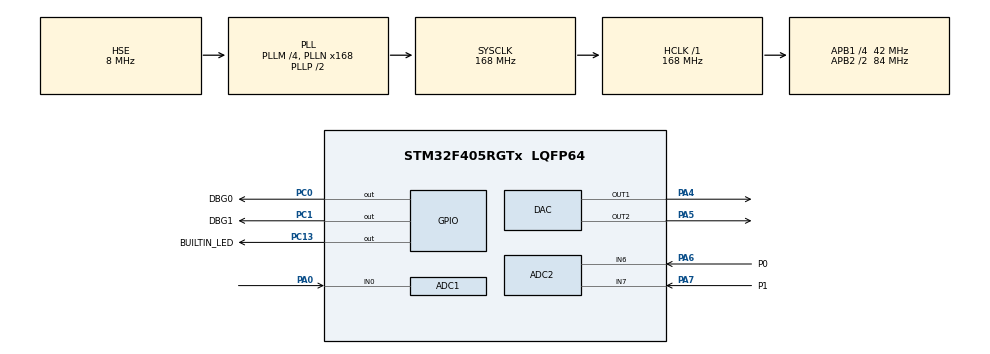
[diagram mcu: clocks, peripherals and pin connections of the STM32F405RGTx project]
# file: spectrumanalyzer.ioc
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ADC1.Channel-0\#ChannelRegularConversion=ADC_CHANNEL_0
ADC1.ClockPrescaler=ADC_CLOCK_SYNC_PCLK_DIV8
ADC1.NbrOfConversionFlag=1
ADC1.Rank-0\#ChannelRegularConversion=1
ADC1.SamplingTime-0\#ChannelRegularConversion=ADC_SAMPLETIME_3CYCLES
ADC1.master=1
ADC2.Channel-1\#ChannelRegularConversion=ADC_CHANNEL_6
ADC2.Channel-3\#ChannelRegularConversion=ADC_CHANNEL_7
ADC2.ClockPrescaler=ADC_CLOCK_SYNC_PCLK_DIV8
ADC2.ContinuousConvMode=DISABLE
ADC2.DMAContinuousRequests=ENABLE
ADC2.EOCSelection=ADC_EOC_SEQ_CONV
ADC2.ExternalTrigConv=ADC_EXTERNALTRIGCONV_T8_TRGO
ADC2.NbrOfConversion=2
ADC2.NbrOfConversionFlag=1
ADC2.Rank-1\#ChannelRegularConversion=1
ADC2.Rank-3\#ChannelRegularConversion=2
ADC2.SamplingTime-1\#ChannelRegularConversion=ADC_SAMPLETIME_28CYCLES
ADC2.SamplingTime-3\#ChannelRegularConversion=ADC_SAMPLETIME_28CYCLES
DAC.DAC_OutputBuffer=DAC_OUTPUTBUFFER_ENABLE
DAC.DAC_OutputBuffer2=DAC_OUTPUTBUFFER_ENABLE
DAC.DAC_Trigger=DAC_TRIGGER_T8_TRGO
DAC.DAC_Trigger2=DAC_TRIGGER_T8_TRGO
Dma.ADC1.0.Direction=DMA_PERIPH_TO_MEMORY
Dma.ADC1.0.FIFOMode=DMA_FIFOMODE_DISABLE
Dma.ADC1.0.Instance=DMA2_Stream0
Dma.ADC1.0.MemDataAlignment=DMA_MDATAALIGN_HALFWORD
Dma.ADC1.0.MemInc=DMA_MINC_ENABLE
Dma.ADC1.0.Mode=DMA_CIRCULAR
Dma.ADC1.0.PeriphDataAlignment=DMA_PDATAALIGN_HALFWORD
Dma.ADC1.0.PeriphInc=DMA_PINC_DISABLE
Dma.ADC1.0.Priority=DMA_PRIORITY_LOW
Dma.ADC2.3.Direction=DMA_PERIPH_TO_MEMORY
Dma.ADC2.3.FIFOMode=DMA_FIFOMODE_DISABLE
Dma.ADC2.3.Instance=DMA2_Stream2
Dma.ADC2.3.MemDataAlignment=DMA_MDATAALIGN_WORD
Dma.ADC2.3.MemInc=DMA_MINC_ENABLE
Dma.ADC2.3.Mode=DMA_CIRCULAR
Dma.ADC2.3.PeriphDataAlignment=DMA_PDATAALIGN_WORD
Dma.ADC2.3.PeriphInc=DMA_PINC_DISABLE
Dma.ADC2.3.Priority=DMA_PRIORITY_LOW
Dma.DAC1.1.Direction=DMA_MEMORY_TO_PERIPH
Dma.DAC1.1.FIFOMode=DMA_FIFOMODE_DISABLE
Dma.DAC1.1.Instance=DMA1_Stream5
Dma.DAC1.1.MemDataAlignment=DMA_MDATAALIGN_WORD
Dma.DAC1.1.MemInc=DMA_MINC_ENABLE
Dma.DAC1.1.Mode=DMA_CIRCULAR
Dma.DAC1.1.PeriphDataAlignment=DMA_PDATAALIGN_WORD
Dma.DAC1.1.PeriphInc=DMA_PINC_DISABLE
Dma.DAC1.1.Priority=DMA_PRIORITY_HIGH
Dma.DAC2.2.Direction=DMA_MEMORY_TO_PERIPH
Dma.DAC2.2.FIFOMode=DMA_FIFOMODE_DISABLE
Dma.DAC2.2.Instance=DMA1_Stream6
Dma.DAC2.2.MemDataAlignment=DMA_MDATAALIGN_WORD
Dma.DAC2.2.MemInc=DMA_MINC_ENABLE
Dma.DAC2.2.Mode=DMA_CIRCULAR
Dma.DAC2.2.PeriphDataAlignment=DMA_PDATAALIGN_WORD
Dma.DAC2.2.PeriphInc=DMA_PINC_DISABLE
Dma.DAC2.2.Priority=DMA_PRIORITY_HIGH
Dma.Request0=ADC1
Dma.Request1=DAC1
Dma.Request2=DAC2
Dma.Request3=ADC2
Mcu.Family=STM32F4
Mcu.Name=STM32F405RGTx
Mcu.Package=LQFP64
Mcu.UserConstants=AUD_PRE,0;AUD_CNT,3499
NVIC.ADC_IRQn=true\:0\:0\:false\:false\:true\:true\:true
NVIC.DMA1_Stream5_IRQn=true\:1\:0\:true\:false\:true\:false\:true
NVIC.DMA1_Stream6_IRQn=true\:1\:0\:true\:false\:true\:false\:true
NVIC.DMA2_Stream0_IRQn=true\:4\:0\:true\:false\:true\:false\:true
NVIC.DMA2_Stream2_IRQn=true\:4\:0\:true\:false\:true\:false\:true
NVIC.PriorityGroup=NVIC_PRIORITYGROUP_4
NVIC.TIM4_IRQn=true\:6\:0\:true\:false\:true\:true\:true
PA0-WKUP.Signal=ADCx_IN0
PA13.Mode=Serial_Wire
PA13.Signal=SYS_JTMS-SWDIO
PA14.Mode=Serial_Wire
PA14.Signal=SYS_JTCK-SWCLK
PA4.Signal=COMP_DAC1_group
PA5.Signal=COMP_DAC2_group
PA6.GPIO_Label=P0
PA6.Signal=ADCx_IN6
PA7.GPIO_Label=P1
PA7.Signal=ADCx_IN7
PC0.GPIO_Label=DBG0
PC0.Signal=GPIO_Output
PC1.GPIO_Label=DBG1
PC1.Signal=GPIO_Output
PC13-ANTI_TAMP.GPIO_Label=BUILTIN_LED
PC13-ANTI_TAMP.PinState=GPIO_PIN_SET
PC13-ANTI_TAMP.Signal=GPIO_Output
PH0-OSC_IN.Mode=HSE-External-Oscillator
PH0-OSC_IN.Signal=RCC_OSC_IN
PH1-OSC_OUT.Mode=HSE-External-Oscillator
PH1-OSC_OUT.Signal=RCC_OSC_OUT
ProjectManager.HeapSize=0x200
ProjectManager.StackSize=0x400
ProjectManager.TargetToolchain=STM32CubeIDE
RCC.48MHZClocksFreq_Value=84000000
RCC.AHBFreq_Value=168000000
RCC.APB1CLKDivider=RCC_HCLK_DIV4
RCC.APB1Freq_Value=42000000
RCC.APB1TimFreq_Value=84000000
RCC.APB2CLKDivider=RCC_HCLK_DIV2
RCC.APB2Freq_Value=84000000
RCC.APB2TimFreq_Value=168000000
RCC.CortexFreq_Value=168000000
RCC.HCLKFreq_Value=168000000
RCC.HSE_VALUE=8000000
RCC.HSI_VALUE=16000000
RCC.LSE_VALUE=32768
RCC.PLLM=4
RCC.PLLN=168
RCC.PLLSourceVirtual=RCC_PLLSOURCE_HSE
RCC.SYSCLKFreq_VALUE=168000000
RCC.SYSCLKSource=RCC_SYSCLKSOURCE_PLLCLK
RCC.VCOOutputFreq_Value=336000000
SH.ADCx_IN0.0=ADC1_IN0,IN0
SH.ADCx_IN6.0=ADC2_IN6,IN6
SH.ADCx_IN7.0=ADC2_IN7,IN7
SH.COMP_DAC1_group.0=DAC_OUT1,DAC_OUT1
SH.COMP_DAC2_group.0=DAC_OUT2,DAC_OUT2
STMicroelectronics.X-CUBE-ALGOBUILD.1.1.0.LibraryCcDSPOoLibraryJjDSPOoLibrary=true
TIM4.AutoReloadPreload=TIM_AUTORELOAD_PRELOAD_ENABLE
TIM4.Period=4999
TIM4.Prescaler=8399
TIM4.TIM_MasterOutputTrigger=TIM_TRGO_UPDATE
TIM8.AutoReloadPreload=TIM_AUTORELOAD_PRELOAD_ENABLE
TIM8.Period=AUD_CNT
TIM8.Prescaler=AUD_PRE
TIM8.TIM_MasterOutputTrigger=TIM_TRGO_UPDATE
VP_STMicroelectronics.X-CUBE-ALGOBUILD_VS_DSPOoLibraryJjLibrary_1.1.0.Mode=DSPOoLibraryJjLibrary
VP_TIM4_VS_ClockSourceINT.Mode=Internal
VP_TIM8_VS_ClockSourceINT.Mode=Internal
board=custom

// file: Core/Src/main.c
/* USER CODE BEGIN Header */
/**
  ******************************************************************************
  * @file           : main.c
  * @brief          : Main program body
  ******************************************************************************
  * @attention
  *
  * <h2><center>&copy; Copyright (c) 2020 STMicroelectronics.
  * All rights reserved.</center></h2>
  *
  * This software component is licensed by ST under BSD 3-Clause license,
  * the "License"; You may not use this file except in compliance with the
  * License. You may obtain a copy of the License at:
  *                        opensource.org/licenses/BSD-3-Clause
  *
  ******************************************************************************
  */
/* USER CODE END Header */
#include "main.h"

/* USER CODE BEGIN Includes */
#include "arm_math.h"
/* USER CODE END Includes */

/* USER CODE BEGIN PD */

#define M_PI2 2 * M_PI

#define SAMPLE_FREQUENCY 48000
#define SAMPLE_BUFFER_SIZE 48
#define DAC_MAX 4095
#define DAC_MID 2047

/* USER CODE END PD */

ADC_HandleTypeDef hadc1;
ADC_HandleTypeDef hadc2;
DMA_HandleTypeDef hdma_adc1;
DMA_HandleTypeDef hdma_adc2;

DAC_HandleTypeDef hdac;
DMA_HandleTypeDef hdma_dac1;
DMA_HandleTypeDef hdma_dac2;

TIM_HandleTypeDef htim4;
TIM_HandleTypeDef htim8;

/* USER CODE BEGIN PV */

// The actual buffers
uint32_t adc1_buffer[SAMPLE_BUFFER_SIZE * 2 * 2] = {0};
uint32_t adc2_buffer[SAMPLE_BUFFER_SIZE * 2 * 2] = {0};
uint32_t dac1_buffer[SAMPLE_BUFFER_SIZE * 2] = {0};
uint32_t dac2_buffer[SAMPLE_BUFFER_SIZE * 2] = {0};

// Pointers to half buffers
uint32_t *adc1_buffer_ptr = adc1_buffer;
uint32_t *adc2_buffer_ptr = adc2_buffer;
uint32_t *dac1_buffer_ptr = dac1_buffer;
uint32_t *dac2_buffer_ptr = dac2_buffer;

float osc1_angle = 0;
float osc1_angle_per_sample = 0;
float osc1_amp = 0.99;
float osc2_angle = 0;
float osc2_angle_per_sample = 0;
float osc2_amp = 0.99;

uint32_t dac_count = 0;
uint32_t adc_count = 0;

uint32_t pot0 = 0;
uint32_t pot1 = 0;

/* USER CODE END PV */

void SystemClock_Config(void);
static void MX_GPIO_Init(void);
static void MX_DMA_Init(void);
static void MX_ADC1_Init(void);
static void MX_ADC2_Init(void);
static void MX_DAC_Init(void);
static void MX_TIM4_Init(void);
static void MX_TIM8_Init(void);

/* USER CODE BEGIN 0 */

void HAL_TIM_PeriodElapsedCallback(TIM_HandleTypeDef *htim) {

	if (htim->Instance == TIM4) {
		HAL_GPIO_TogglePin(BUILTIN_LED_GPIO_Port, BUILTIN_LED_Pin);
	}

}

static inline void update_osc_buffers() {

	HAL_GPIO_WritePin(DBG0_GPIO_Port, DBG0_Pin, GPIO_PIN_SET);

	for (uint8_t sample = 0; sample < SAMPLE_BUFFER_SIZE; sample++) {

		*dac1_buffer_ptr = (uint32_t) (DAC_MID + osc1_amp * arm_sin_f32(osc1_angle) * DAC_MID);
		*dac2_buffer_ptr = (uint32_t) (DAC_MID + osc2_amp * arm_sin_f32(osc2_angle) * DAC_MID);
		osc1_angle += osc1_angle_per_sample;
		osc2_angle += osc2_angle_per_sample;
		dac1_buffer_ptr++;
		dac2_buffer_ptr++;

		if (osc1_angle > M_PI2) osc1_angle -= M_PI2;
		if (osc2_angle > M_PI2) osc2_angle -= M_PI2;

	}

	dac_count++;

	HAL_GPIO_WritePin(DBG0_GPIO_Port, DBG0_Pin, GPIO_PIN_RESET);

}

// Contrary to the name this callback actually handles both channels
void HAL_DAC_ConvCpltCallbackCh1(DAC_HandleTypeDef *hdac) {

	dac1_buffer_ptr = &dac1_buffer[SAMPLE_BUFFER_SIZE];
    dac2_buffer_ptr = &dac2_buffer[SAMPLE_BUFFER_SIZE];

    update_osc_buffers();

}

// Contrary to the name this callback actually handles both channels
void HAL_DAC_ConvHalfCpltCallbackCh1(DAC_HandleTypeDef *hdac) {

	dac1_buffer_ptr = &dac1_buffer[0];
	dac2_buffer_ptr = &dac2_buffer[0];

	update_osc_buffers();

}

void set_osc1_freq(float freq) {
	osc1_angle_per_sample = M_PI2 / (SAMPLE_FREQUENCY / freq);
}

void set_osc2_freq(float freq) {
	osc2_angle_per_sample = M_PI2 / (SAMPLE_FREQUENCY / freq);
}

// Get pot values - average of 48 samples each pot
static inline void update_pots(uint32_t *sample_ptr) {

	HAL_GPIO_WritePin(DBG0_GPIO_Port, DBG0_Pin, GPIO_PIN_SET);

	uint32_t pot0_value = 0;
	uint32_t pot1_value = 0;
	for (uint8_t i = 0; i < SAMPLE_BUFFER_SIZE; ++i) {
		pot0_value += (uint32_t)*sample_ptr;
		sample_ptr++;
		pot1_value += (uint32_t)*sample_ptr;
		sample_ptr++;
	}
	pot0 = pot0_value / SAMPLE_BUFFER_SIZE;
	pot1 = pot1_value / SAMPLE_BUFFER_SIZE;

	set_osc1_freq((float)(4096 - pot0));
	osc1_amp = (float)(4096.0 - pot1) / 4096;

	adc_count++;

	HAL_GPIO_WritePin(DBG0_GPIO_Port, DBG0_Pin, GPIO_PIN_RESET);

}

void HAL_ADC_ConvCpltCallback(ADC_HandleTypeDef* hadc) {
	if (hadc->Instance == ADC2) {

		update_pots(&adc2_buffer[SAMPLE_BUFFER_SIZE]);

	}
}

void HAL_ADC_ConvHalfCpltCallback(ADC_HandleTypeDef* hadc) {
	if (hadc->Instance == ADC2) {

		update_pots(&adc2_buffer[0]);

	}
}

/* USER CODE END 0 */

int main(void)
{

  /* MCU Configuration--------------------------------------------------------*/

  /* Reset of all peripherals, Initializes the Flash interface and the Systick. */
  HAL_Init();

  /* Configure the system clock */
  SystemClock_Config();

  /* Initialize all configured peripherals */
  MX_GPIO_Init();
  MX_DMA_Init();
  MX_ADC1_Init();
  MX_ADC2_Init();
  MX_DAC_Init();
  MX_TIM4_Init();
  MX_TIM8_Init();
  /* USER CODE BEGIN 2 */

  // Start the timer to get the blue led flashing every second
  HAL_TIM_Base_Start_IT(&htim4);

  //HAL_TIM_Base_Start_IT(&htim2);
  //HAL_TIM_Base_Start_IT(&htim6);
  HAL_TIM_Base_Start_IT(&htim8);

  HAL_ADC_Start_DMA(&hadc2, adc2_buffer, SAMPLE_BUFFER_SIZE * 2 * 2);

  HAL_DAC_Start_DMA(&hdac, DAC_CHANNEL_1, dac1_buffer, SAMPLE_BUFFER_SIZE * 2, DAC_ALIGN_12B_R);
  HAL_DAC_Start_DMA(&hdac, DAC_CHANNEL_2, dac2_buffer, SAMPLE_BUFFER_SIZE * 2, DAC_ALIGN_12B_R);

  /* USER CODE END 2 */

  /* Infinite loop */
  /* USER CODE BEGIN WHILE */

  set_osc1_freq(440);
  set_osc2_freq(55);

  uint32_t then = 0;

  while (1)
  {

	uint32_t now = HAL_GetTick();
	if (now % 1000 == 0 && now != then) {

		then = now;
	}

    /* USER CODE END WHILE */

  }
}

void SystemClock_Config(void)
{
  RCC_OscInitTypeDef RCC_OscInitStruct = {0};
  RCC_ClkInitTypeDef RCC_ClkInitStruct = {0};

  /** Configure the main internal regulator output voltage
  */
  __HAL_RCC_PWR_CLK_ENABLE();
  __HAL_PWR_VOLTAGESCALING_CONFIG(PWR_REGULATOR_VOLTAGE_SCALE1);
  /** Initializes the RCC Oscillators according to the specified parameters
  * in the RCC_OscInitTypeDef structure.
  */
  RCC_OscInitStruct.OscillatorType = RCC_OSCILLATORTYPE_HSE;
  RCC_OscInitStruct.HSEState = RCC_HSE_ON;
  RCC_OscInitStruct.PLL.PLLState = RCC_PLL_ON;
  RCC_OscInitStruct.PLL.PLLSource = RCC_PLLSOURCE_HSE;
  RCC_OscInitStruct.PLL.PLLM = 4;
  RCC_OscInitStruct.PLL.PLLN = 168;
  RCC_OscInitStruct.PLL.PLLP = RCC_PLLP_DIV2;
  RCC_OscInitStruct.PLL.PLLQ = 4;
  if (HAL_RCC_OscConfig(&RCC_OscInitStruct) != HAL_OK)
  {
    Error_Handler();
  }
  /** Initializes the CPU, AHB and APB buses clocks
  */
  RCC_ClkInitStruct.ClockType = RCC_CLOCKTYPE_HCLK|RCC_CLOCKTYPE_SYSCLK
                              |RCC_CLOCKTYPE_PCLK1|RCC_CLOCKTYPE_PCLK2;
  RCC_ClkInitStruct.SYSCLKSource = RCC_SYSCLKSOURCE_PLLCLK;
  RCC_ClkInitStruct.AHBCLKDivider = RCC_SYSCLK_DIV1;
  RCC_ClkInitStruct.APB1CLKDivider = RCC_HCLK_DIV4;
  RCC_ClkInitStruct.APB2CLKDivider = RCC_HCLK_DIV2;

  if (HAL_RCC_ClockConfig(&RCC_ClkInitStruct, FLASH_LATENCY_5) != HAL_OK)
  {
    Error_Handler();
  }
}

static void MX_ADC1_Init(void)
{

  ADC_ChannelConfTypeDef sConfig = {0};

  /** Configure the global features of the ADC (Clock, Resolution, Data Alignment and number of conversion)
  */
  hadc1.Instance = ADC1;
  hadc1.Init.ClockPrescaler = ADC_CLOCK_SYNC_PCLK_DIV8;
  hadc1.Init.Resolution = ADC_RESOLUTION_12B;
  hadc1.Init.ScanConvMode = DISABLE;
  hadc1.Init.ContinuousConvMode = DISABLE;
  hadc1.Init.DiscontinuousConvMode = DISABLE;
  hadc1.Init.ExternalTrigConvEdge = ADC_EXTERNALTRIGCONVEDGE_NONE;
  hadc1.Init.ExternalTrigConv = ADC_SOFTWARE_START;
  hadc1.Init.DataAlign = ADC_DATAALIGN_RIGHT;
  hadc1.Init.NbrOfConversion = 1;
  hadc1.Init.DMAContinuousRequests = DISABLE;
  hadc1.Init.EOCSelection = ADC_EOC_SINGLE_CONV;
  if (HAL_ADC_Init(&hadc1) != HAL_OK)
  {
    Error_Handler();
  }
  /** Configure for the selected ADC regular channel its corresponding rank in the sequencer and its sample time.
  */
  sConfig.Channel = ADC_CHANNEL_0;
  sConfig.Rank = 1;
  sConfig.SamplingTime = ADC_SAMPLETIME_3CYCLES;
  if (HAL_ADC_ConfigChannel(&hadc1, &sConfig) != HAL_OK)
  {
    Error_Handler();
  }

}

static void MX_ADC2_Init(void)
{

  ADC_ChannelConfTypeDef sConfig = {0};

  /** Configure the global features of the ADC (Clock, Resolution, Data Alignment and number of conversion)
  */
  hadc2.Instance = ADC2;
  hadc2.Init.ClockPrescaler = ADC_CLOCK_SYNC_PCLK_DIV8;
  hadc2.Init.Resolution = ADC_RESOLUTION_12B;
  hadc2.Init.ScanConvMode = ENABLE;
  hadc2.Init.ContinuousConvMode = DISABLE;
  hadc2.Init.DiscontinuousConvMode = DISABLE;
  hadc2.Init.ExternalTrigConvEdge = ADC_EXTERNALTRIGCONVEDGE_RISING;
  hadc2.Init.ExternalTrigConv = ADC_EXTERNALTRIGCONV_T8_TRGO;
  hadc2.Init.DataAlign = ADC_DATAALIGN_RIGHT;
  hadc2.Init.NbrOfConversion = 2;
  hadc2.Init.DMAContinuousRequests = ENABLE;
  hadc2.Init.EOCSelection = ADC_EOC_SEQ_CONV;
  if (HAL_ADC_Init(&hadc2) != HAL_OK)
  {
    Error_Handler();
  }
  /** Configure for the selected ADC regular channel its corresponding rank in the sequencer and its sample time.
  */
  sConfig.Channel = ADC_CHANNEL_6;
  sConfig.Rank = 1;
  sConfig.SamplingTime = ADC_SAMPLETIME_28CYCLES;
  if (HAL_ADC_ConfigChannel(&hadc2, &sConfig) != HAL_OK)
  {
    Error_Handler();
  }
  /** Configure for the selected ADC regular channel its corresponding rank in the sequencer and its sample time.
  */
  sConfig.Channel = ADC_CHANNEL_7;
  sConfig.Rank = 2;
  if (HAL_ADC_ConfigChannel(&hadc2, &sConfig) != HAL_OK)
  {
    Error_Handler();
  }

}

static void MX_DAC_Init(void)
{

  DAC_ChannelConfTypeDef sConfig = {0};

  /** DAC Initialization
  */
  hdac.Instance = DAC;
  if (HAL_DAC_Init(&hdac) != HAL_OK)
  {
    Error_Handler();
  }
  /** DAC channel OUT1 config
  */
  sConfig.DAC_Trigger = DAC_TRIGGER_T8_TRGO;
  sConfig.DAC_OutputBuffer = DAC_OUTPUTBUFFER_ENABLE;
  if (HAL_DAC_ConfigChannel(&hdac, &sConfig, DAC_CHANNEL_1) != HAL_OK)
  {
    Error_Handler();
  }
  /** DAC channel OUT2 config
  */
  if (HAL_DAC_ConfigChannel(&hdac, &sConfig, DAC_CHANNEL_2) != HAL_OK)
  {
    Error_Handler();
  }

}

static void MX_TIM4_Init(void)
{

  TIM_ClockConfigTypeDef sClockSourceConfig = {0};
  TIM_MasterConfigTypeDef sMasterConfig = {0};

  htim4.Instance = TIM4;
  htim4.Init.Prescaler = 8399;
  htim4.Init.CounterMode = TIM_COUNTERMODE_UP;
  htim4.Init.Period = 4999;
  htim4.Init.ClockDivision = TIM_CLOCKDIVISION_DIV1;
  htim4.Init.AutoReloadPreload = TIM_AUTORELOAD_PRELOAD_ENABLE;
  if (HAL_TIM_Base_Init(&htim4) != HAL_OK)
  {
    Error_Handler();
  }
  sClockSourceConfig.ClockSource = TIM_CLOCKSOURCE_INTERNAL;
  if (HAL_TIM_ConfigClockSource(&htim4, &sClockSourceConfig) != HAL_OK)
  {
    Error_Handler();
  }
  sMasterConfig.MasterOutputTrigger = TIM_TRGO_UPDATE;
  sMasterConfig.MasterSlaveMode = TIM_MASTERSLAVEMODE_DISABLE;
  if (HAL_TIMEx_MasterConfigSynchronization(&htim4, &sMasterConfig) != HAL_OK)
  {
    Error_Handler();
  }

}

static void MX_TIM8_Init(void)
{

  TIM_ClockConfigTypeDef sClockSourceConfig = {0};
  TIM_MasterConfigTypeDef sMasterConfig = {0};

  htim8.Instance = TIM8;
  htim8.Init.Prescaler = AUD_PRE;
  htim8.Init.CounterMode = TIM_COUNTERMODE_UP;
  htim8.Init.Period = AUD_CNT;
  htim8.Init.ClockDivision = TIM_CLOCKDIVISION_DIV1;
  htim8.Init.RepetitionCounter = 0;
  htim8.Init.AutoReloadPreload = TIM_AUTORELOAD_PRELOAD_ENABLE;
  if (HAL_TIM_Base_Init(&htim8) != HAL_OK)
  {
    Error_Handler();
  }
  sClockSourceConfig.ClockSource = TIM_CLOCKSOURCE_INTERNAL;
  if (HAL_TIM_ConfigClockSource(&htim8, &sClockSourceConfig) != HAL_OK)
  {
    Error_Handler();
  }
  sMasterConfig.MasterOutputTrigger = TIM_TRGO_UPDATE;
  sMasterConfig.MasterSlaveMode = TIM_MASTERSLAVEMODE_DISABLE;
  if (HAL_TIMEx_MasterConfigSynchronization(&htim8, &sMasterConfig) != HAL_OK)
  {
    Error_Handler();
  }

}

static void MX_DMA_Init(void)
{

  /* DMA controller clock enable */
  __HAL_RCC_DMA2_CLK_ENABLE();
  __HAL_RCC_DMA1_CLK_ENABLE();

  /* DMA interrupt init */
  /* DMA1_Stream5_IRQn interrupt configuration */
  HAL_NVIC_SetPriority(DMA1_Stream5_IRQn, 1, 0);
  HAL_NVIC_EnableIRQ(DMA1_Stream5_IRQn);
  /* DMA1_Stream6_IRQn interrupt configuration */
  HAL_NVIC_SetPriority(DMA1_Stream6_IRQn, 1, 0);
  HAL_NVIC_EnableIRQ(DMA1_Stream6_IRQn);
  /* DMA2_Stream0_IRQn interrupt configuration */
  HAL_NVIC_SetPriority(DMA2_Stream0_IRQn, 4, 0);
  HAL_NVIC_EnableIRQ(DMA2_Stream0_IRQn);
  /* DMA2_Stream2_IRQn interrupt configuration */
  HAL_NVIC_SetPriority(DMA2_Stream2_IRQn, 4, 0);
  HAL_NVIC_EnableIRQ(DMA2_Stream2_IRQn);

}

static void MX_GPIO_Init(void)
{
  GPIO_InitTypeDef GPIO_InitStruct = {0};

  /* GPIO Ports Clock Enable */
  __HAL_RCC_GPIOC_CLK_ENABLE();
  __HAL_RCC_GPIOH_CLK_ENABLE();
  __HAL_RCC_GPIOA_CLK_ENABLE();

  /*Configure GPIO pin Output Level */
  HAL_GPIO_WritePin(BUILTIN_LED_GPIO_Port, BUILTIN_LED_Pin, GPIO_PIN_SET);

  /*Configure GPIO pin Output Level */
  HAL_GPIO_WritePin(GPIOC, DBG0_Pin|DBG1_Pin, GPIO_PIN_RESET);

  /*Configure GPIO pins : BUILTIN_LED_Pin DBG0_Pin DBG1_Pin */
  GPIO_InitStruct.Pin = BUILTIN_LED_Pin|DBG0_Pin|DBG1_Pin;
  GPIO_InitStruct.Mode = GPIO_MODE_OUTPUT_PP;
  GPIO_InitStruct.Pull = GPIO_NOPULL;
  GPIO_InitStruct.Speed = GPIO_SPEED_FREQ_LOW;
  HAL_GPIO_Init(GPIOC, &GPIO_InitStruct);

}

void Error_Handler(void)
{
}

/************************ (C) COPYRIGHT STMicroelectronics *****END OF FILE****/
